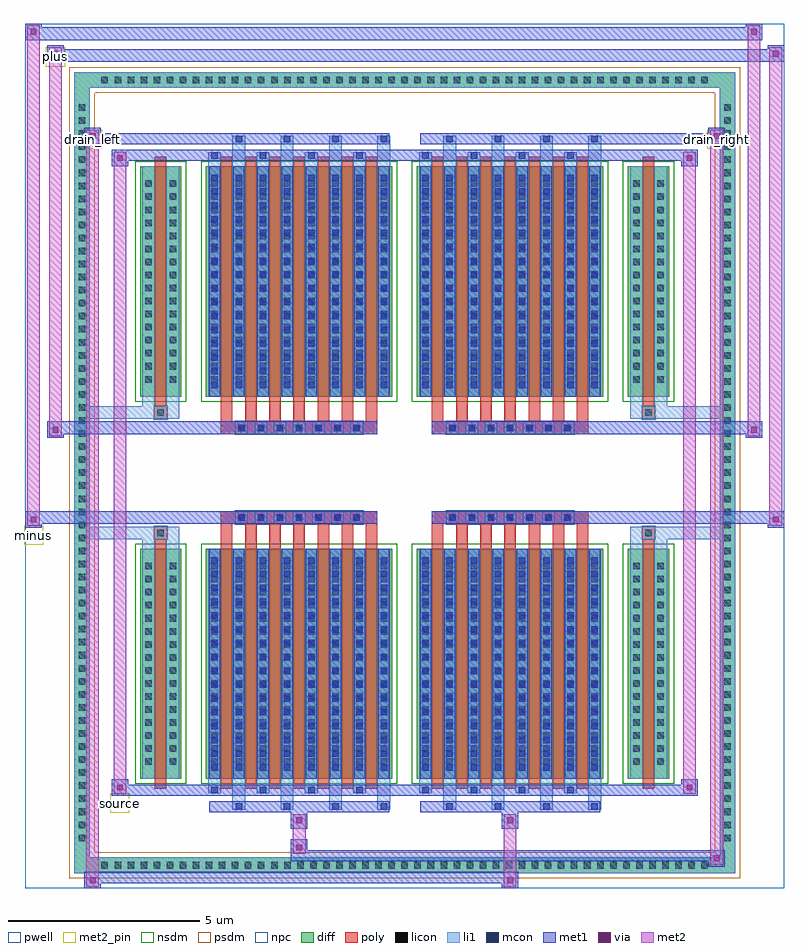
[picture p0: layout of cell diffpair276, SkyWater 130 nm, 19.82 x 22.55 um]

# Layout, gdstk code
import gdstk
lib = gdstk.Library(unit=1e-6, precision=5e-09)
def R(c, l, rs):  # rectangles x0, y0, x1, y1
    for r in rs: c.add(gdstk.rectangle(r[:2], r[2:], *l))
def A(c, l, x, y, w, h, nx, ny, dx, dy):  # array of equal rectangles
    R(c, l, [(x+i*dx, y+j*dy, x+i*dx+w, y+j*dy+h) for i in range(nx) for j in range(ny)])
def P(c, l, *ps):  # polygons
    for p in ps: c.add(gdstk.Polygon(p, *l))
pwell = (64, 44)
diff = (65, 20)
poly = (66, 20)
licon = (66, 44)
li1 = (67, 20)
mcon = (67, 44)
met1 = (68, 20)
via = (68, 44)
met2_pin = (69, 16)
met2 = (69, 20)
nsdm = (93, 44)
psdm = (94, 20)
npc = (95, 20)

diffpair276 = lib.new_cell('diffpair276')
R(diffpair276, pwell, [(-9.89,-10.84,9.89,11.71), (-7.21,-9.03,-0.01,-0.805), (0.01,-9.03,7.21,-0.805), (-7.21,0.805,-0.01,9.03), (0.01,0.805,7.21,9.03)])
A(diffpair276, diff, -8.025, -10.44, 0.41, 0.41, 47, 2, 0.34, 20.47)
A(diffpair276, diff, -8.62, -9.725, 0.41, 0.41, 1, 57, 0, 0.34)
A(diffpair276, diff, 8.21, -9.725, 0.41, 0.41, 1, 57, 0, 0.34)
R(diffpair276, diff, [(-8.025,-10.44,8.025,-10.03), (-8.62,-9.725,-8.21,9.725), (8.21,-9.725,8.62,9.725), (-6.9,-7.985,-5.82,-1.985), (-5.18,-7.985,-0.32,-1.985), (0.32,-7.985,5.18,-1.985), (5.82,-7.985,6.9,-1.985), (-6.9,1.985,-5.82,7.985), (-5.18,1.985,-0.32,7.985), (0.32,1.985,5.18,7.985), (5.82,1.985,6.9,7.985), (-8.025,10.03,8.025,10.44)])
P(diffpair276, diff, [(8.62,10.44),(-8.62,10.44),(-8.62,-10.03),(-8.21,-10.03),(-8.21,10.03),(8.21,10.03),(8.21,-10.03),(-8.21,-10.03),(-8.62,-10.03),(-8.62,-10.44),(8.62,-10.44)])
A(diffpair276, poly, -4.79, -8.235, 0.3, 6.5, 7, 2, 0.63, 9.97)
A(diffpair276, poly, 0.71, -8.235, 0.3, 6.5, 7, 2, 0.63, 9.97)
A(diffpair276, poly, -4.79, -1.735, 0.3, 0.4, 7, 2, 0.63, 3.07)
A(diffpair276, poly, 0.71, -1.735, 0.3, 0.4, 7, 2, 0.63, 3.07)
A(diffpair276, poly, -4.415, -1.335, 0.33, 0.33, 7, 2, 0.5, 2.34)
A(diffpair276, poly, 1.085, -1.335, 0.33, 0.33, 7, 2, 0.5, 2.34)
R(diffpair276, poly, [(-6.51,-8.235,-6.21,-1.735), (6.21,-8.235,6.51,-1.735), (-6.525,-1.735,-6.195,-1.405), (-6.525,-1.735,-6.195,-1.405), (6.195,-1.735,6.525,-1.405), (6.195,-1.735,6.525,-1.405), (-4.79,-1.335,-0.71,-1.005), (0.71,-1.335,4.79,-1.005), (-4.79,1.005,-0.71,1.335), (0.71,1.005,4.79,1.335), (-6.525,1.405,-6.195,1.735), (-6.525,1.405,-6.195,1.735), (6.195,1.405,6.525,1.735), (6.195,1.405,6.525,1.735), (-6.51,1.735,-6.21,8.235), (6.21,1.735,6.51,8.235)])
A(diffpair276, licon, -7.905, -10.32, 0.17, 0.17, 47, 2, 0.34, 20.47)
A(diffpair276, licon, -8.5, -9.605, 0.17, 0.17, 1, 57, 0, 0.34)
A(diffpair276, licon, 8.33, -9.605, 0.17, 0.17, 1, 57, 0, 0.34)
A(diffpair276, licon, -6.76, -7.62, 0.17, 0.17, 1, 16, 0, 0.34)
A(diffpair276, licon, -6.13, -7.62, 0.17, 0.17, 1, 16, 0, 0.34)
A(diffpair276, licon, -5.04, -7.62, 0.17, 0.17, 8, 16, 0.63, 0.34)
A(diffpair276, licon, 0.46, -7.62, 0.17, 0.17, 8, 16, 0.63, 0.34)
A(diffpair276, licon, 5.96, -7.62, 0.17, 0.17, 1, 16, 0, 0.34)
A(diffpair276, licon, 6.59, -7.62, 0.17, 0.17, 1, 16, 0, 0.34)
A(diffpair276, licon, -4.335, -1.255, 0.17, 0.17, 7, 2, 0.5, 2.34)
A(diffpair276, licon, 1.165, -1.255, 0.17, 0.17, 7, 2, 0.5, 2.34)
A(diffpair276, licon, -6.76, 2.35, 0.17, 0.17, 1, 16, 0, 0.34)
A(diffpair276, licon, -6.13, 2.35, 0.17, 0.17, 1, 16, 0, 0.34)
A(diffpair276, licon, -5.04, 2.35, 0.17, 0.17, 8, 16, 0.63, 0.34)
A(diffpair276, licon, 0.46, 2.35, 0.17, 0.17, 8, 16, 0.63, 0.34)
A(diffpair276, licon, 5.96, 2.35, 0.17, 0.17, 1, 16, 0, 0.34)
A(diffpair276, licon, 6.59, 2.35, 0.17, 0.17, 1, 16, 0, 0.34)
R(diffpair276, licon, [(-6.445,-1.655,-6.275,-1.485), (6.275,-1.655,6.445,-1.485), (-6.445,1.485,-6.275,1.655), (6.275,1.485,6.445,1.655)])
A(diffpair276, li1, -7.985, -10.4, 0.33, 0.33, 47, 2, 0.34, 20.47)
A(diffpair276, li1, -8.58, -9.685, 0.33, 0.33, 1, 57, 0, 0.34)
A(diffpair276, li1, 8.25, -9.685, 0.33, 0.33, 1, 57, 0, 0.34)
A(diffpair276, li1, -4.49, -8.79, 0.33, 0.805, 4, 2, 1.26, 16.775)
A(diffpair276, li1, -4.41, -8.79, 0.17, 0.17, 4, 2, 1.26, 17.41)
A(diffpair276, li1, 1.01, -8.79, 0.33, 0.805, 4, 2, 1.26, 16.775)
A(diffpair276, li1, 1.09, -8.79, 0.17, 0.17, 4, 2, 1.26, 17.41)
A(diffpair276, li1, -5.12, -8.36, 0.33, 0.375, 4, 2, 1.26, 16.345)
A(diffpair276, li1, -5.04, -8.36, 0.17, 0.17, 4, 2, 1.26, 16.55)
A(diffpair276, li1, 0.38, -8.36, 0.33, 0.375, 4, 2, 1.26, 16.345)
A(diffpair276, li1, 0.46, -8.36, 0.17, 0.17, 4, 2, 1.26, 16.55)
A(diffpair276, li1, -5.12, -7.985, 0.33, 6, 8, 2, 0.63, 9.97)
A(diffpair276, li1, 0.38, -7.985, 0.33, 6, 8, 2, 0.63, 9.97)
A(diffpair276, li1, -5.04, -7.77, 0.17, 0.17, 8, 16, 0.63, 0.36)
A(diffpair276, li1, -5.04, -7.77, 0.17, 5.57, 8, 2, 0.63, 9.97)
A(diffpair276, li1, 0.46, -7.77, 0.17, 0.17, 8, 16, 0.63, 0.36)
A(diffpair276, li1, 0.46, -7.77, 0.17, 5.57, 8, 2, 0.63, 9.97)
A(diffpair276, li1, -6.84, -7.7, 0.33, 0.33, 1, 16, 0, 0.34)
A(diffpair276, li1, -6.21, -7.7, 0.33, 0.33, 1, 16, 0, 0.34)
A(diffpair276, li1, -5.12, -7.7, 0.33, 0.33, 8, 16, 0.63, 0.34)
A(diffpair276, li1, 0.38, -7.7, 0.33, 0.33, 8, 16, 0.63, 0.34)
A(diffpair276, li1, 5.88, -7.7, 0.33, 0.33, 1, 16, 0, 0.34)
A(diffpair276, li1, 6.51, -7.7, 0.33, 0.33, 1, 16, 0, 0.34)
A(diffpair276, li1, -4.415, -1.335, 0.33, 0.33, 7, 2, 0.5, 2.34)
A(diffpair276, li1, 1.085, -1.335, 0.33, 0.33, 7, 2, 0.5, 2.34)
A(diffpair276, li1, -5.04, 2.2, 0.17, 0.17, 8, 16, 0.63, 0.36)
A(diffpair276, li1, 0.46, 2.2, 0.17, 0.17, 8, 16, 0.63, 0.36)
A(diffpair276, li1, -6.84, 2.27, 0.33, 0.33, 1, 16, 0, 0.34)
A(diffpair276, li1, -6.21, 2.27, 0.33, 0.33, 1, 16, 0, 0.34)
A(diffpair276, li1, -5.12, 2.27, 0.33, 0.33, 8, 16, 0.63, 0.34)
A(diffpair276, li1, 0.38, 2.27, 0.33, 0.33, 8, 16, 0.63, 0.34)
A(diffpair276, li1, 5.88, 2.27, 0.33, 0.33, 1, 16, 0, 0.34)
A(diffpair276, li1, 6.51, 2.27, 0.33, 0.33, 1, 16, 0, 0.34)
R(diffpair276, li1, [(-8.62,-10.44,-8.21,-10.03), (-8.62,-10.44,-8.21,-10.03), (-8.21,-10.44,8.21,-10.03), (8.21,-10.44,8.62,-10.03), (8.21,-10.44,8.62,-10.03), (-8.62,-10.03,-8.21,10.03), (8.21,-10.03,8.62,10.03), (-6.84,-7.985,-6.51,-1.985), (-6.21,-7.985,-5.88,-1.985), (5.88,-7.985,6.21,-1.985), (6.51,-7.985,6.84,-1.985), (-6.84,-1.985,-6.51,-1.405), (-6.21,-1.985,-5.88,-1.405), (5.88,-1.985,6.21,-1.405), (6.51,-1.985,6.84,-1.405), (-8.62,-1.735,-6.525,-1.405), (-6.84,-1.735,-6.525,-1.405), (-6.525,-1.735,-6.195,-1.405), (-6.195,-1.735,-5.88,-1.405), (5.88,-1.735,6.195,-1.405), (6.195,-1.735,6.525,-1.405), (6.195,-1.735,8.62,-1.405), (6.525,-1.735,6.84,-1.405), (-8.62,1.405,-6.525,1.735), (-6.84,1.405,-6.525,1.735), (-6.84,1.405,-6.51,1.985), (-6.525,1.405,-6.195,1.735), (-6.21,1.405,-5.88,1.985), (-6.195,1.405,-5.88,1.735), (5.88,1.405,6.195,1.735), (5.88,1.405,6.21,1.985), (6.195,1.405,6.525,1.735), (6.195,1.405,8.62,1.735), (6.51,1.405,6.84,1.985), (6.525,1.405,6.84,1.735), (-6.84,1.985,-6.51,7.985), (-6.21,1.985,-5.88,7.985), (5.88,1.985,6.21,7.985), (6.51,1.985,6.84,7.985), (-8.62,10.03,-8.21,10.44), (-8.62,10.03,-8.21,10.44), (-8.21,10.03,8.21,10.44), (8.21,10.03,8.62,10.44), (8.21,10.03,8.62,10.44)])
A(diffpair276, mcon, -4.41, -8.79, 0.17, 0.17, 4, 2, 1.26, 17.41)
A(diffpair276, mcon, 1.09, -8.79, 0.17, 0.17, 4, 2, 1.26, 17.41)
A(diffpair276, mcon, -5.04, -8.36, 0.17, 0.17, 4, 2, 1.26, 16.55)
A(diffpair276, mcon, 0.46, -8.36, 0.17, 0.17, 4, 2, 1.26, 16.55)
A(diffpair276, mcon, -5.04, -7.77, 0.17, 0.17, 8, 16, 0.63, 0.36)
A(diffpair276, mcon, 0.46, -7.77, 0.17, 0.17, 8, 16, 0.63, 0.36)
A(diffpair276, mcon, -4.335, -1.255, 0.17, 0.17, 7, 2, 0.5, 2.34)
A(diffpair276, mcon, 1.165, -1.255, 0.17, 0.17, 7, 2, 0.5, 2.34)
A(diffpair276, mcon, -5.04, 2.2, 0.17, 0.17, 8, 16, 0.63, 0.36)
A(diffpair276, mcon, 0.46, 2.2, 0.17, 0.17, 8, 16, 0.63, 0.36)
A(diffpair276, met1, -4.47, -8.85, 0.29, 0.29, 4, 2, 1.26, 17.41)
A(diffpair276, met1, 1.03, -8.85, 0.29, 0.29, 4, 2, 1.26, 17.41)
A(diffpair276, met1, -5.1, -8.42, 0.29, 0.29, 4, 2, 1.26, 16.55)
A(diffpair276, met1, 0.4, -8.42, 0.29, 0.29, 4, 2, 1.26, 16.55)
A(diffpair276, met1, -5.1, -7.985, 0.29, 6, 8, 2, 0.63, 9.97)
A(diffpair276, met1, 0.4, -7.985, 0.29, 6, 8, 2, 0.63, 9.97)
A(diffpair276, met1, -5.1, -7.83, 0.29, 0.29, 8, 16, 0.63, 0.36)
A(diffpair276, met1, 0.4, -7.83, 0.29, 0.29, 8, 16, 0.63, 0.36)
A(diffpair276, met1, -4.395, -1.315, 0.29, 0.29, 7, 2, 0.5, 2.34)
A(diffpair276, met1, 1.105, -1.315, 0.29, 0.29, 7, 2, 0.5, 2.34)
A(diffpair276, met1, -5.1, 2.14, 0.29, 0.29, 8, 16, 0.63, 0.36)
A(diffpair276, met1, 0.4, 2.14, 0.29, 0.29, 8, 16, 0.63, 0.36)
R(diffpair276, met1, [(-8.35,-10.84,-7.92,-10.41), (2.535,-10.84,2.965,-10.41), (-8.35,-10.7,2.965,-10.41), (7.92,-10.27,8.35,-9.84), (-2.965,-10.13,8.35,-9.84), (-2.965,-9.99,-2.535,-9.56), (-2.965,-9.28,-2.535,-8.85), (2.535,-9.28,2.965,-8.85), (-5.1,-8.85,-0.4,-8.56), (0.4,-8.85,5.1,-8.56), (-7.64,-8.42,-7.21,-7.99), (-7.64,-8.42,-5.1,-8.13), (-5.1,-8.42,-0.4,-8.13), (-0.4,-8.42,0.4,-8.13), (0.4,-8.42,5.1,-8.13), (5.1,-8.42,7.64,-8.13), (7.21,-8.42,7.64,-7.99), (-9.89,-1.435,-9.46,-1.005), (9.46,-1.435,9.89,-1.005), (-9.89,-1.335,-0.71,-1.005), (-4.79,-1.335,-0.71,-1.005), (0.71,-1.335,4.79,-1.005), (0.71,-1.335,9.89,-1.005), (-9.32,0.905,-8.89,1.335), (8.89,0.905,9.32,1.335), (-9.32,1.005,-4.79,1.335), (-4.79,1.005,-0.71,1.335), (0.71,1.005,4.79,1.335), (4.79,1.005,9.32,1.335), (-7.64,7.99,-7.21,8.42), (7.21,7.99,7.64,8.42), (-7.64,8.13,-5.1,8.42), (-5.1,8.13,-0.4,8.42), (-0.4,8.13,0.4,8.42), (0.4,8.13,5.1,8.42), (5.1,8.13,7.64,8.42), (-8.35,8.56,-7.92,8.99), (-8.35,8.56,-5.1,8.85), (-5.1,8.56,-0.4,8.85), (0.4,8.56,5.1,8.85), (5.1,8.56,8.35,8.85), (7.92,8.56,8.35,8.99), (-9.32,10.71,-8.89,11.14), (-9.32,10.71,-7.21,11.04), (-7.21,10.71,7.21,11.04), (7.21,10.71,9.89,11.04), (9.46,10.71,9.89,11.14), (-9.89,11.28,-9.46,11.71), (-9.89,11.28,-7.21,11.61), (-7.21,11.28,7.21,11.61), (7.21,11.28,9.32,11.61), (8.89,11.28,9.32,11.71)])
R(diffpair276, via, [(-8.21,-10.7,-8.06,-10.55), (2.675,-10.7,2.825,-10.55), (8.06,-10.13,8.21,-9.98), (-2.825,-9.85,-2.675,-9.7), (-2.825,-9.14,-2.675,-8.99), (2.675,-9.14,2.825,-8.99), (-7.5,-8.28,-7.35,-8.13), (7.35,-8.28,7.5,-8.13), (-9.75,-1.295,-9.6,-1.145), (9.6,-1.295,9.75,-1.145), (-9.18,1.045,-9.03,1.195), (9.03,1.045,9.18,1.195), (-7.5,8.13,-7.35,8.28), (7.35,8.13,7.5,8.28), (-8.21,8.7,-8.06,8.85), (8.06,8.7,8.21,8.85), (-9.18,10.85,-9.03,11), (9.6,10.85,9.75,11), (-9.75,11.42,-9.6,11.57), (9.03,11.42,9.18,11.57)])
R(diffpair276, met2_pin, [(-7.675,-8.87,-7.175,-8.37), (-9.925,-1.885,-9.425,-1.385), (-8.385,8.44,-7.885,8.94), (7.885,8.44,8.385,8.94), (-9.355,10.59,-8.855,11.09)])
R(diffpair276, met2, [(-8.3,-10.79,-7.97,-10.46), (-8.3,-10.79,-7.97,8.94), (2.585,-10.79,2.915,-10.46), (2.585,-10.46,2.915,-9.23), (7.97,-10.22,8.3,-9.89), (7.97,-10.22,8.3,8.94), (-2.915,-9.94,-2.585,-9.61), (-2.915,-9.61,-2.585,-9.23), (-2.915,-9.23,-2.585,-8.9), (2.585,-9.23,2.915,-8.9), (-7.59,-8.37,-7.26,-8.04), (-7.59,-8.37,-7.26,8.37), (7.26,-8.37,7.59,-8.04), (7.26,-8.37,7.59,8.37), (-9.84,-1.385,-9.51,-1.055), (-9.84,-1.385,-9.51,11.66), (9.51,-1.385,9.84,-1.055), (9.51,-1.385,9.84,11.09), (-9.27,0.955,-8.94,1.285), (-9.27,0.955,-8.94,11.09), (8.94,0.955,9.27,1.285), (8.94,0.955,9.27,11.66), (-7.59,8.04,-7.26,8.37), (7.26,8.04,7.59,8.37), (-8.3,8.61,-7.97,8.94), (7.97,8.61,8.3,8.94), (-9.27,10.76,-8.94,11.09), (9.51,10.76,9.84,11.09), (-9.84,11.33,-9.51,11.66), (8.94,11.33,9.27,11.66)])
P(diffpair276, met2, [(9.84,-1.385),(9.84,-1.385),(9.84,-1.055),(9.84,-1.055)],
  [(9.84,10.76),(9.84,10.76),(9.84,11.09),(9.84,11.09)],
  [(-9.51,-1.385),(-9.51,-1.385),(-9.51,-1.055),(-9.51,-1.055)],
  [(-9.51,11.33),(-9.51,11.33),(-9.51,11.66),(-9.51,11.66)],
  [(9.27,0.955),(9.27,0.955),(9.27,1.285),(9.27,1.285)],
  [(9.27,11.33),(9.27,11.33),(9.27,11.66),(9.27,11.66)],
  [(-8.94,0.955),(-8.94,0.955),(-8.94,1.285),(-8.94,1.285)],
  [(-8.94,10.76),(-8.94,10.76),(-8.94,11.09),(-8.94,11.09)],
  [(-7.97,-10.79),(-7.97,-10.79),(-7.97,-10.46),(-7.97,-10.46)],
  [(-7.97,8.61),(-7.97,8.61),(-7.97,8.94),(-7.97,8.94)],
  [(8.3,-10.22),(8.3,-10.22),(8.3,-9.89),(8.3,-9.89)],
  [(8.3,8.61),(8.3,8.61),(8.3,8.94),(8.3,8.94)],
  [(-7.26,-8.37),(-7.26,-8.37),(-7.26,-8.04),(-7.26,-8.04)],
  [(-7.26,8.04),(-7.26,8.04),(-7.26,8.37),(-7.26,8.37)],
  [(7.59,-8.37),(7.59,-8.37),(7.59,-8.04),(7.59,-8.04)],
  [(7.59,8.04),(7.59,8.04),(7.59,8.37),(7.59,8.37)])
R(diffpair276, nsdm, [(-7.03,-8.115,-5.69,-1.855), (-5.31,-8.115,-0.19,-1.855), (0.19,-8.115,5.31,-1.855), (5.69,-8.115,7.03,-1.855), (-7.03,1.855,-5.69,8.115), (-5.31,1.855,-0.19,8.115), (0.19,1.855,5.31,8.115), (5.69,1.855,7.03,8.115)])
P(diffpair276, psdm, [(8.75,10.57),(-8.75,10.57),(-8.75,-9.9),(-8.08,-9.9),(-8.08,9.9),(8.08,9.9),(8.08,-9.9),(-8.08,-9.9),(-8.75,-9.9),(-8.75,-10.57),(8.75,-10.57)])
A(diffpair276, npc, -4.435, -1.355, 0.37, 0.37, 7, 2, 0.5, 2.34)
A(diffpair276, npc, 1.065, -1.355, 0.37, 0.37, 7, 2, 0.5, 2.34)
R(diffpair276, npc, [(-6.545,-1.755,-6.175,-1.385), (6.175,-1.755,6.545,-1.385), (-4.435,-1.355,-3.565,-0.985), (-4.435,-1.355,-3.565,-0.985), (-3.935,-1.355,-3.065,-0.985), (-3.935,-1.355,-3.065,-0.985), (-3.435,-1.355,-2.565,-0.985), (-3.435,-1.355,-2.565,-0.985), (-2.935,-1.355,-2.065,-0.985), (-2.935,-1.355,-2.065,-0.985), (-2.435,-1.355,-1.565,-0.985), (-2.435,-1.355,-1.565,-0.985), (-1.935,-1.355,-1.065,-0.985), (-1.935,-1.355,-1.065,-0.985), (1.065,-1.355,1.935,-0.985), (1.065,-1.355,1.935,-0.985), (1.565,-1.355,2.435,-0.985), (1.565,-1.355,2.435,-0.985), (2.065,-1.355,2.935,-0.985), (2.065,-1.355,2.935,-0.985), (2.565,-1.355,3.435,-0.985), (2.565,-1.355,3.435,-0.985), (3.065,-1.355,3.935,-0.985), (3.065,-1.355,3.935,-0.985), (3.565,-1.355,4.435,-0.985), (3.565,-1.355,4.435,-0.985), (-4.435,0.985,-3.565,1.355), (-4.435,0.985,-3.565,1.355), (-3.935,0.985,-3.065,1.355), (-3.935,0.985,-3.065,1.355), (-3.435,0.985,-2.565,1.355), (-3.435,0.985,-2.565,1.355), (-2.935,0.985,-2.065,1.355), (-2.935,0.985,-2.065,1.355), (-2.435,0.985,-1.565,1.355), (-2.435,0.985,-1.565,1.355), (-1.935,0.985,-1.065,1.355), (-1.935,0.985,-1.065,1.355), (1.065,0.985,1.935,1.355), (1.065,0.985,1.935,1.355), (1.565,0.985,2.435,1.355), (1.565,0.985,2.435,1.355), (2.065,0.985,2.935,1.355), (2.065,0.985,2.935,1.355), (2.565,0.985,3.435,1.355), (2.565,0.985,3.435,1.355), (3.065,0.985,3.935,1.355), (3.065,0.985,3.935,1.355), (3.565,0.985,4.435,1.355), (3.565,0.985,4.435,1.355), (-6.545,1.385,-6.175,1.755), (6.175,1.385,6.545,1.755)])
diffpair276.add(gdstk.Label('minus', (-9.675,-1.635), layer=69, texttype=5))
diffpair276.add(gdstk.Label('drain_right', (8.135,8.69), layer=69, texttype=5))
diffpair276.add(gdstk.Label('drain_left', (-8.135,8.69), layer=69, texttype=5))
diffpair276.add(gdstk.Label('source', (-7.425,-8.62), layer=69, texttype=5))
diffpair276.add(gdstk.Label('plus', (-9.105,10.84), layer=69, texttype=5))

lib.write_gds('diffpair276.gds')
